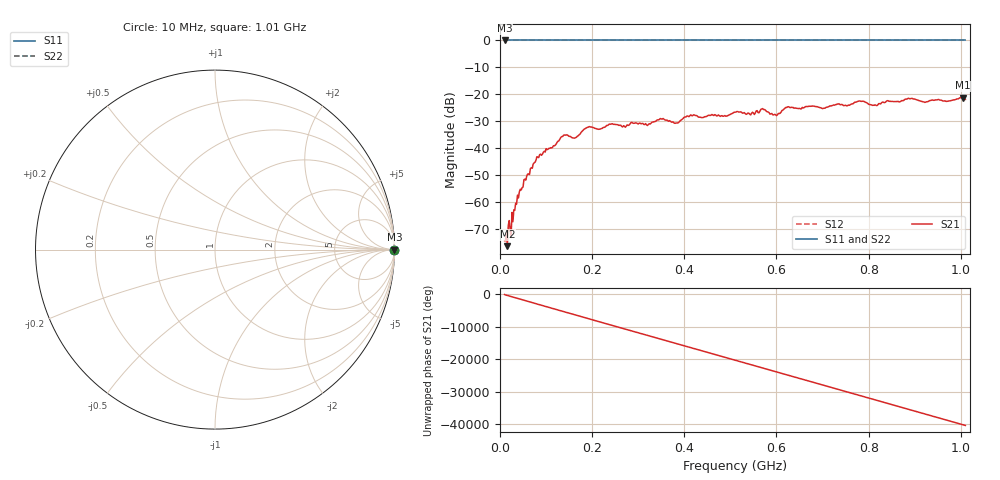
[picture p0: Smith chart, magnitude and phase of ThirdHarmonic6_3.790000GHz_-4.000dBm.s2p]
! 8/17/2025 1:05:11 PM
! C:\ANRITSUVNA\TEMP\TEMP.S2P
! CHANNEL.1
! TR.MEASUREMENT
! RAW.DATA
! RF.CORRECTION.OFF
! AVERAGING.OFF
! IF.BANDWIDTH: 5KHZ
! SWEEPTYPE:  FREQ.SWEEP(Linear)
! Reference Plane Port Info
! PORT:  PORT1  PORT2
! DISTANCE:  0  m  0  m
! TIME:  0  s  0  s
! PHASE.OFFSET:  0  deg.  0  deg.
! LOSS:  0  dB  0  dB
! REF.LOSS:  0  dB  0  dB
! REF.FREQ:  0  Hz  0  Hz
! Power Info
! POWER:  -20  dBm  -20  dBm
! EFF.POWER:  -20  dBm  -20  dBm
! SOURCE.ATTEN:  0  dB  0  dB
! TEST.ATTEN:  0  dB  0  dB
# GHZ S RI R 50.0
! FREQ.GHZ  S11RE  S11IM  S21RE  S21IM  S12RE  S12IM  S22RE  S22IM
!; PortSelection: Port_12
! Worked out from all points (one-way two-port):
!   501 points, 10 MHz to 1.01 GHz, reference 50 ohm
!   highest |S21| = -21.27 dB at 1.004 GHz (marker M1); lowest = -76.5 dB at 16 MHz (marker M2)
!   lowest |S11| = 0.0 dB at 10 MHz (marker M3)
!   |S11| at or under -10 dB: nowhere
!   |S22| runs from 0.0 to 0.0 dB; largest |S21 - S12| = 1.1
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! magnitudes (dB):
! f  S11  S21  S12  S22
! 10 MHz  0.0  -74.4  0.0  0.0
! 16 MHz  0.0  -76.5  0.0  0.0
! 20 MHz  0.0  -67.0  0.0  0.0
! 42 MHz  0.0  -56.2  0.0  0.0
! 82 MHz  0.0  -43.4  0.0  0.0
! 136 MHz  0.0  -35.7  0.0  0.0
! 162 MHz  0.0  -36.3  0.0  0.0
! 178 MHz  0.0  -33.8  0.0  0.0
! 194 MHz  0.0  -32.0  0.0  0.0
! 322 MHz  0.0  -31.2  0.0  0.0
! 344 MHz  0.0  -29.5  0.0  0.0
! 382 MHz  0.0  -30.7  0.0  0.0
! 416 MHz  0.0  -27.9  0.0  0.0
! 510 MHz  0.0  -26.7  0.0  0.0
! 570 MHz  0.0  -25.3  0.0  0.0
! 598 MHz  0.0  -27.6  0.0  0.0
! 624 MHz  0.0  -24.7  0.0  0.0
! 678 MHz  0.0  -24.4  0.0  0.0
! 814 MHz  0.0  -23.9  0.0  0.0
! 844 MHz  0.0  -22.6  0.0  0.0
! 1.004 GHz  0.0  -21.3  0.0  0.0
! 1.01 GHz  0.0  -21.9  0.0  0.0
